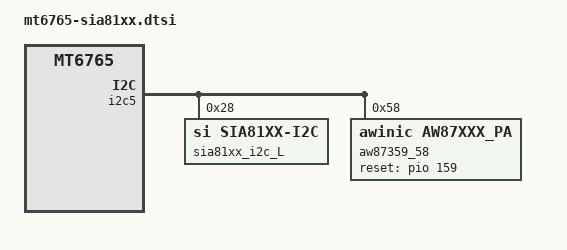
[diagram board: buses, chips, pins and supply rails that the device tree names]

/* Copyright (c) 2018, The Linux Foundation. All rights reserved.
 *
 * This program is free software; you can redistribute it and/or modify
 * it under the terms of the GNU General Public License version 2 and
 * only version 2 as published by the Free Software Foundation.
 *
 * This program is distributed in the hope that it will be useful,
 * but WITHOUT ANY WARRANTY; without even the implied warranty of
 * MERCHANTABILITY or FITNESS FOR A PARTICULAR PURPOSE.  See the
 * GNU General Public License for more details.
 */

&pio {
	sia81xx_gpio_L: sia81xx_gpio_L {
		pins_cmd_dat {
			pinmux = <PINMUX_GPIO159__FUNC_GPIO159>;
			slew-rate = <1>;
			bias-disable;
		};
	};
};

&sia81xx_L {
	compatible = "si,sia81xx";
	si,sia81xx_type = "sia8109";
	si,sia81xx_reset = <&pio 159 0>;
	si,sia81xx_owi = <&pio 159 0>;
	pinctrl-names = "sia81xx_gpio";
	pinctrl-0 = <&sia81xx_gpio_L>;

	si,sia81xx_disable_pin = <0>;

	/* the same value share a same task
	 * valid value range : 0 ~ 7 */
	timer_task_hdl = <0>;

	channel_num = <0>;
	owi_mode = <6>;
	en_x_filter = <0>;
	en_dynamic_updata_vdd = <0>;
	dynamic_updata_vdd_port = <0x8>;
};

&audio {
	si,sia81xx-max-num = <1>;
	si,sia81xx-aux-devs = <&sia81xx_L>;
	si,sia81xx-aux-devs-prefix = "SpkrLeft";
//#ifdef OPLUS_ARCH_EXTENDS
// 2020/12/01,add for audio bringup
	oplus,speaker-pa-device = "sia";
//#endif
};

&i2c5 {
	sia81xx_i2c_L:sia81xx_i2c@L {
        compatible = "si,sia81xx-i2c";
        reg = <0x28>;
        si,sia81xx-dev = <&sia81xx_L>;
	};
};

/*2021/03/30,add speaker pa aw87359 driver*/
&i2c5 {
    aw87359_58:aw87359@58 {
        compatible = "awinic,aw87xxx_pa";
        reset-gpio = <&pio 159 0>;
        reg = <0x58>;
        pa-channel = < 0 >;
        status = "okay";
    };
};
